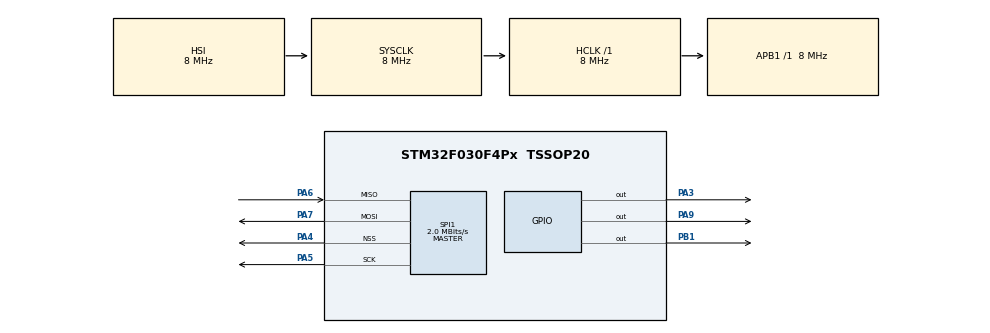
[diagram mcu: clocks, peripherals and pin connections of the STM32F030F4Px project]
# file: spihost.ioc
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Mcu.Family=STM32F0
Mcu.Name=STM32F030F4Px
Mcu.Package=TSSOP20
PA13.Mode=Serial_Wire
PA13.Signal=SYS_SWDIO
PA14.Mode=Serial_Wire
PA14.Signal=SYS_SWCLK
PA3.Signal=GPIO_Output
PA4.Mode=NSS_Signal_Hard_Output
PA4.Signal=SPI1_NSS
PA5.Mode=Full_Duplex_Master
PA5.Signal=SPI1_SCK
PA6.Mode=Full_Duplex_Master
PA6.Signal=SPI1_MISO
PA7.Mode=Full_Duplex_Master
PA7.Signal=SPI1_MOSI
PA9.Signal=GPIO_Output
PB1.Signal=GPIO_Output
ProjectManager.HeapSize=0x200
ProjectManager.StackSize=0x400
ProjectManager.TargetToolchain=STM32CubeIDE
RCC.AHBFreq_Value=8000000
RCC.APB1Freq_Value=8000000
RCC.APB1TimFreq_Value=8000000
RCC.HCLKFreq_Value=8000000
RCC.PLLMUL=RCC_PLL_MUL12
RCC.SYSCLKFreq_VALUE=8000000
SPI1.BaudRatePrescaler=SPI_BAUDRATEPRESCALER_4
SPI1.CalculateBaudRate=2.0 MBits/s
SPI1.DataSize=SPI_DATASIZE_9BIT
SPI1.Direction=SPI_DIRECTION_2LINES
SPI1.Mode=SPI_MODE_MASTER
SPI1.NSSPMode=SPI_NSS_PULSE_ENABLE
SPI1.TIMode=SPI_TIMODE_DISABLE
SPI1.VirtualNSS=VM_NSSHARD
SPI1.VirtualType=VM_MASTER
board=custom

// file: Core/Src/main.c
/* USER CODE BEGIN Header */
/**
  ******************************************************************************
  * @file           : main.c
  * @brief          : Main program body
  ******************************************************************************
  * @attention
  *
  * Copyright (c) 2022 STMicroelectronics.
  * All rights reserved.
  *
  * This software is licensed under terms that can be found in the LICENSE file
  * in the root directory of this software component.
  * If no LICENSE file comes with this software, it is provided AS-IS.
  *
  ******************************************************************************
  */
/* USER CODE END Header */
#include "main.h"
#include "spi.h"
#include "gpio.h"

void SystemClock_Config(void);

/* USER CODE BEGIN 0 */
void SSD_Reset(){
    HAL_Delay(100);
    HAL_GPIO_WritePin(GPIOA,GPIO_PIN_3,GPIO_PIN_SET);
    HAL_Delay(100);
    HAL_GPIO_WritePin(GPIOA,GPIO_PIN_3,GPIO_PIN_RESET);
    HAL_Delay(200);
    HAL_GPIO_WritePin(GPIOA,GPIO_PIN_3,GPIO_PIN_SET);
    HAL_Delay(100);

    HAL_Delay(100);
    HAL_GPIO_WritePin(GPIOA,GPIO_PIN_9,GPIO_PIN_SET);
    HAL_Delay(100);
    HAL_GPIO_WritePin(GPIOA,GPIO_PIN_9,GPIO_PIN_RESET);
    HAL_Delay(300);
    HAL_GPIO_WritePin(GPIOA,GPIO_PIN_9,GPIO_PIN_SET);
    HAL_Delay(100);

    HAL_Delay(100);
    HAL_GPIO_WritePin(GPIOB,GPIO_PIN_1,GPIO_PIN_RESET);
    HAL_Delay(100);
    HAL_GPIO_WritePin(GPIOB,GPIO_PIN_1,GPIO_PIN_SET);
}
void SSD_SPI_Write(uint8_t *buf,int length){
    HAL_SPI_Transmit(&hspi1,buf,length,HAL_TIMEOUT);
}
void SSD_SPI_Read(int length, uint8_t *r){
    HAL_SPI_Receive(&hspi1,r,length,HAL_TIMEOUT);
}
void SSD_SPI_ReadWrite(uint8_t *buf, int length, uint16_t *r){
    volatile uint16_t bufr[10];
    HAL_SPI_TransmitReceive(&hspi1, buf, (uint8_t *) bufr, length + 2, HAL_TIMEOUT);
    volatile uint8_t byter0=0|bufr[length]>>1;
    volatile uint8_t byter1=0|((bufr[length]&0b000000001)<<7)|(bufr[length+1]>>2);
    r[0]=byter0;
    r[1]=byter1;
}
uint16_t SSD_SPI_ReadReg(uint8_t reg){
    uint16_t tbuf[2];
    tbuf[0]=reg;
    tbuf[1]=0xfa;
    uint16_t rbuf[2];
    SSD_SPI_ReadWrite((uint8_t*)tbuf,2,rbuf);
    return rbuf[0]|rbuf[1]<<8;

}

void SSD_SPI_WriteReg(uint8_t reg,uint16_t data,int len){
    uint16_t buf[3]={reg,1<<8|(data&0xff),1<<8|((data>>8)&0xff)};
    SSD_SPI_Write(buf,len+1);
}

void SSD_MIPI_WriteLongGeneric(uint8_t reg,uint16_t* data,int len){
    SSD_SPI_WriteReg(0xb7,0x0302,2);
    SSD_SPI_WriteReg(0xb8,0x0000,2);
    SSD_SPI_WriteReg(0xbc,len,2);
    uint16_t b0[1]={0xbf};
    SSD_SPI_Write(b0,1);
    uint16_t b1[1]={1<<8|reg};
    SSD_SPI_Write(b1,1);
    for(int i=0;i<len-1;i++){
        uint16_t b2[1]={1<<8|data[i]};
        SSD_SPI_Write(b2,1);
    }
}
void SSD_MIPI_WriteLongDCS(uint8_t reg,uint16_t* data,int len){
    SSD_SPI_WriteReg(0xb7,0x0050,2);
    SSD_SPI_WriteReg(0xb8,0x0000,2);
    SSD_SPI_WriteReg(0xbc,len,2);
    uint16_t b0[1]={0xbf};
    SSD_SPI_Write(b0,1);
    uint16_t b1[1]={1<<8|reg};
    SSD_SPI_Write(b1,1);
    for(int i=0;i<len-1;i++){
        uint16_t b2[1]={1<<8|data[i]};
        SSD_SPI_Write(b2,1);
    }

}
void SSD_MIPI_WriteShortGeneric(uint8_t reg,uint16_t data,int len){
//    SSD_SPI_WriteReg(0xb7,0x0302,2);
//    SSD_SPI_WriteReg(0xb8,0x0000,2);
//
//    SSD_SPI_WriteReg(0xbc,len,2);
//    SSD_SPI_WriteReg(0xbf,reg|(data<<8),2);
    uint16_t b[2]={data&0xff,data>>8};
    SSD_MIPI_WriteLongGeneric(reg,b,len);
}
void SSD_MIPI_WriteShortDCS(uint8_t reg,uint16_t data,int len){
//    SSD_SPI_WriteReg(0xb7,0x0050,2);
//    SSD_SPI_WriteReg(0xb8,0x0000,2);
//
//    SSD_SPI_WriteReg(0xbc,len,2);
//    SSD_SPI_WriteReg(0xbf,reg|(data<<8),2);
    uint16_t b[2]={data&0xff,data>>8};
    SSD_MIPI_WriteLongDCS(reg,b,len);
}
uint16_t SSD_MIPI_ReadGeneric(uint8_t reg,uint16_t *len, uint16_t *status){
    SSD_SPI_WriteReg(0xb7,0x0382,2);
    SSD_SPI_WriteReg(0xc1,0x0002,2);
    SSD_SPI_WriteReg(0xc0,0x0001,2);

    SSD_SPI_WriteReg(0xbc,0x0001,2);
    SSD_SPI_WriteReg(0xbf,reg,2);
    //if(len!=0){
        *len=SSD_SPI_ReadReg(0xc2);
    //}
    //if(status!=0){  //0 - no error; 1 - read not ready
        if((SSD_SPI_ReadReg(0xc6)&1)==0){
            *status=1;
        }else{
            *status=0;
        }
        if(SSD_SPI_ReadReg(0xc3)!=0){
            *status=2;
        }else{
            *status=0;
        }
    //}
    return SSD_SPI_ReadReg(0xff);
}
uint16_t SSD_MIPI_ReadDCS(uint8_t reg,uint16_t *len, uint16_t *status){
    SSD_SPI_WriteReg(0xb7,0x03c2,2);
    SSD_SPI_WriteReg(0xc1,0x00ff,2);
    SSD_SPI_WriteReg(0xc0,0x0002,2);

    SSD_SPI_WriteReg(0xbc,0x0001,2);
    SSD_SPI_WriteReg(0xbf,reg,2);
    //if(len!=0){
        *len=SSD_SPI_ReadReg(0xc2);
    //}
    //if(status!=0){
        if((SSD_SPI_ReadReg(0xc6)&1)==0){
            *status=1;
        }else{
            *status=0;
        }
        if(SSD_SPI_ReadReg(0xc3)!=0){
            *status=2;
        }else{
            *status=0;
        }
    //}
    return SSD_SPI_ReadReg(0xff);
}
/* USER CODE END 0 */

int main(void)
{

  /* MCU Configuration--------------------------------------------------------*/

  /* Reset of all peripherals, Initializes the Flash interface and the Systick. */
  HAL_Init();

  /* Configure the system clock */
  SystemClock_Config();

  /* Initialize all configured peripherals */
  MX_GPIO_Init();
  MX_SPI1_Init();
  /* USER CODE BEGIN 2 */
   // HAL_GPIO_WritePin(GPIOA,GPIO_PIN_4,GPIO_PIN_SET);
   // HAL_Delay(100);
    uint16_t buf[4];
    SSD_Reset();
    HAL_Delay(300);
  /* USER CODE END 2 */

  /* Infinite loop */
  while (1)
  {

    /* USER CODE BEGIN 3 */
//      volatile uint16_t id;
//      id=SSD_SPI_ReadReg(0xb0);
//      id;
//      continue;
      SSD_SPI_WriteReg(0xb7,0x0300,2);

      SSD_SPI_WriteReg(0xde,0x0003,2);
      SSD_SPI_WriteReg(0xb9,0x0000,2);

      SSD_SPI_WriteReg(0xb9,0x0001,2);
      SSD_SPI_WriteReg(0xb8,0x0000,2);
      //vsync,hsync width
      //SSD_SPI_WriteReg(0xb1,0x0101,2);
//vbp,hbp
      SSD_SPI_WriteReg(0xb2,2<<8|150,2);

//vfp,hfp
      SSD_SPI_WriteReg(0xb3,2<<8|150,2);

      //vact
      SSD_SPI_WriteReg(0xb5,   1920,2);

      //hact
      SSD_SPI_WriteReg(0xb4,1080,2);

      SSD_SPI_WriteReg(0xb9,0x0000,2);

      //pll 8*62=496
      // 8*124=992
      //00 - 62.5-125, 01 - 126-250, 10 - 251-500, 11 - 501-1000
      SSD_SPI_WriteReg(0xba,(0b11000000)<<8|124,2);

      //polarity
      SSD_SPI_WriteReg(0xb6,0b11000000<<8|0b00000011,2);

      SSD_SPI_WriteReg(0xbb,0x0007,2);
      SSD_SPI_WriteReg(0xb9,0x0001,2);

//
//      SSD_SPI_WriteReg(0xb7,0x0050,2);
//      SSD_SPI_WriteReg(0xb8,0x0000,2);
//      SSD_SPI_WriteReg(0xb9,0x0000,2);
//      SSD_SPI_WriteReg(0xba,0x8050,2);
//      SSD_SPI_WriteReg(0xbb,0x0004,2);
//      SSD_SPI_WriteReg(0xb9,0x0001,2);
//      SSD_SPI_WriteReg(0xde,0x0001,2);
//      SSD_SPI_WriteReg(0xc9,0x2302,2);
      HAL_Delay(100);

      //-------------------------------------
      SSD_MIPI_WriteShortGeneric(0xb0,0x04,2);
      SSD_MIPI_WriteShortGeneric(0x00,0x00,1);
      SSD_MIPI_WriteShortGeneric(0x00,0x00,1);
      SSD_MIPI_WriteShortGeneric(0xd6,0x01,2);
      //brightness(backlight pwm)
      uint16_t ld[3]={0x0f,0xff,0};
      SSD_MIPI_WriteLongDCS(0x51,ld,3);
      //pwm en
      SSD_MIPI_WriteShortDCS(0x53,0x04,2);
      //te en
      SSD_MIPI_WriteShortDCS(0x35,0x00,2);

      //lcd r63311 bist
//      uint16_t ld2[6]={0x01,0xff,0x07,0x10,0x00,0x77};
//      SSD_MIPI_WriteLongGeneric(0xde,ld2,7);
//      SSD_MIPI_WriteShortGeneric(0xb3,0xd4,2);

      SSD_MIPI_WriteShortDCS(0x11,0x00,1);
      HAL_Delay(150);
      SSD_MIPI_WriteShortDCS(0x29,0x00,1);

//
//      SSD_SPI_WriteReg(0xb7,0x0050,2);
//      SSD_SPI_WriteReg(0xb8,0x0000,2);

      SSD_SPI_WriteReg(0xc9,0x2102,2);
      SSD_SPI_WriteReg(0xca,0x0510,2);
      SSD_SPI_WriteReg(0xcb,0x1005,2);
      SSD_SPI_WriteReg(0xcc,0x1005,2);
      SSD_SPI_WriteReg(0xd0,0x0000,2);

        //rgb mode
      SSD_SPI_WriteReg(0xb6,0b00001111|(0b00000000<<8),2);

      SSD_SPI_WriteReg(0xde,0x0003,2);
      SSD_SPI_WriteReg(0xd6,0x0005,2);

    //vga resolution
//      SSD_SPI_WriteReg(0xeb,0x0100,2);
      HAL_Delay(100);

      //lcd bist

//      //ssd2828 bist
      SSD_SPI_WriteReg(0xee,0x0600,2);
//    //hs
      SSD_SPI_WriteReg(0xb7,0x024b,2);
     break;

      //------------------------------------
      volatile uint16_t r,r1,r2,r3,r4,r5,r6;
      r= SSD_MIPI_ReadGeneric(0xda,&r1,&r2);
      r3= SSD_MIPI_ReadDCS(0xda,&r4,&r5);
      r;r1;r2;r3;r4;r5;
    //break;

        //break;
      //------------------------------------
  }
  /* USER CODE END 3 */
}

void SystemClock_Config(void)
{
  RCC_OscInitTypeDef RCC_OscInitStruct = {0};
  RCC_ClkInitTypeDef RCC_ClkInitStruct = {0};

  /** Initializes the RCC Oscillators according to the specified parameters
  * in the RCC_OscInitTypeDef structure.
  */
  RCC_OscInitStruct.OscillatorType = RCC_OSCILLATORTYPE_HSI;
  RCC_OscInitStruct.HSIState = RCC_HSI_ON;
  RCC_OscInitStruct.HSICalibrationValue = RCC_HSICALIBRATION_DEFAULT;
  RCC_OscInitStruct.PLL.PLLState = RCC_PLL_NONE;
  if (HAL_RCC_OscConfig(&RCC_OscInitStruct) != HAL_OK)
  {
    Error_Handler();
  }

  /** Initializes the CPU, AHB and APB buses clocks
  */
  RCC_ClkInitStruct.ClockType = RCC_CLOCKTYPE_HCLK|RCC_CLOCKTYPE_SYSCLK
                              |RCC_CLOCKTYPE_PCLK1;
  RCC_ClkInitStruct.SYSCLKSource = RCC_SYSCLKSOURCE_HSI;
  RCC_ClkInitStruct.AHBCLKDivider = RCC_SYSCLK_DIV1;
  RCC_ClkInitStruct.APB1CLKDivider = RCC_HCLK_DIV1;

  if (HAL_RCC_ClockConfig(&RCC_ClkInitStruct, FLASH_LATENCY_0) != HAL_OK)
  {
    Error_Handler();
  }
}

void Error_Handler(void)
{
  __disable_irq();
  while (1)
  {
  }
}
